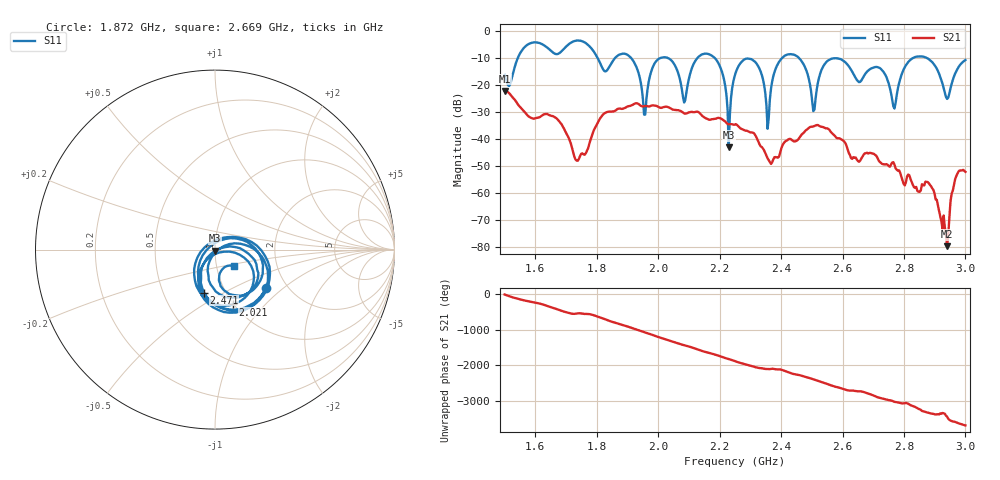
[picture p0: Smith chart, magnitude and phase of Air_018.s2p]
# HZ S RI R 50
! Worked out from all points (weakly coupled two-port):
!   404 points, 1.5 GHz to 3 GHz, reference 50 ohm
!   highest |S21| = -22.29 dB at 1.5 GHz (marker M1); lowest = -79.9 dB at 2.94 GHz (marker M2)
!   lowest |S11| = -43.2 dB at 2.23 GHz (marker M3), VSWR 1.01, Z = 49.9 - j0.685 ohm
!   |S11| at or under -10 dB: 2.183 GHz to 2.404 GHz (221.5 MHz wide, 9.66 % of centre); 2.457 GHz to 2.832 GHz (374.4 MHz wide, 14.2 % of centre); 2.872 GHz to end of sweep (the widest 3 of 7)
!   S12 and S22 are empty: the file has one direction only
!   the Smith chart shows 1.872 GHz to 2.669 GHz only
!   S11 on the Smith chart (normalised r, x): 1.872 GHz: 1.57, -0.77; 2.021 GHz: 0.99, -0.68; 2.471 GHz: 0.79, -0.40; 2.669 GHz: 1.21, -0.23
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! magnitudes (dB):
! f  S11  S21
! 1.5 GHz  -16.5  -22.3
! 1.753 GHz  -3.9  -45.5
! 1.872 GHz  -8.9  -28.9
! 1.954 GHz  -31.1  -28.0
! 2.002 GHz  -10.4  -28.4
! 2.021 GHz  -9.8  -28.2
! 2.084 GHz  -26.6  -30.6
! 2.181 GHz  -9.8  -32.7
! 2.23 GHz  -43.2  -34.7
! 2.252 GHz  -15.7  -34.6
! 2.315 GHz  -11.5  -38.6
! 2.356 GHz  -36.4  -47.3
! 2.397 GHz  -11.0  -45.2
! 2.471 GHz  -12.1  -38.1
! 2.501 GHz  -25.9  -35.6
! 2.561 GHz  -10.5  -37.4
! 2.669 GHz  -17.0  -45.9
! 2.751 GHz  -19.7  -50.2
! 2.862 GHz  -9.6  -57.2
! 2.94 GHz  -25.3  -79.9
! 2.97 GHz  -15.0  -53.9
! 3 GHz  -10.9  -52.3
